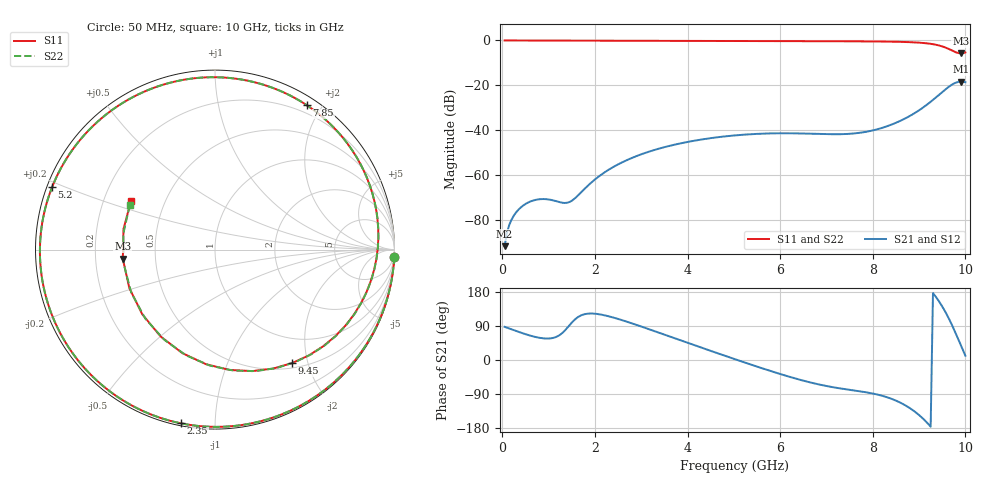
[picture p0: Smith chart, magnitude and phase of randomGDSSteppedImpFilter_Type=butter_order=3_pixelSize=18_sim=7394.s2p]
! freq	dB(S11)	phase(S11)	dB(S12)	phase(S12)
!  dB(S21)	phase(S21)	dB(S22)	phase(S22)
!S-par simulation data
#  GHz  S  DB  R 50
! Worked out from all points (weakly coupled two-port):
!   200 points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, 50 MHz to 10 GHz, reference 50 ohm
!   highest |S21| = -18.32 dB at 9.9 GHz (marker M1); lowest = -91.6 dB at 50 MHz (marker M2)
!   lowest |S11| = -5.7 dB at 9.9 GHz (marker M3), VSWR 3.13, Z = 16 - j2.22 ohm
!   |S11| at or under -10 dB: nowhere
!   |S22| runs from -5.8 to 0.0 dB; largest |S21 - S12| = 0
!   S11 on the Smith chart (normalised r, x): 50 MHz: 0, -49; 2.35 GHz: 0.01, -0.82; 5.2 GHz: 0.01, +0.18; 7.85 GHz: 0.10, +1.82; 9.45 GHz: 0.57, -1.74; 10 GHz: 0.32, +0.24
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0.05  -0.00 -2.3  -91.61 87.5  -91.61 87.5  -0.00 -2.3
0.2  -0.01 -9.3  -79.80 81.0  -79.80 81.0  -0.01 -9.3
0.35  -0.02 -16.1  -75.34 74.4  -75.34 74.4  -0.02 -16.1
0.6  -0.04 -27.5  -71.78 64.5  -71.78 64.5  -0.04 -27.5
1.4  -0.08 -62.7  -72.28 84.4  -72.28 84.4  -0.08 -62.7
1.75  -0.09 -77.3  -66.64 119.9  -66.64 119.9  -0.09 -77.3
2.35  -0.12 -101.0  -56.91 113.6  -56.91 113.6  -0.12 -101.0
3.4  -0.16 -139.4  -48.08 71.3  -48.08 71.3  -0.16 -139.4
4.25  -0.20 -168.6  -44.28 34.8  -44.28 34.8  -0.20 -168.7
5.05  -0.24 164.2  -42.23 1.0  -42.23 1.0  -0.24 164.2
5.2  -0.25 159.1  -41.98 -5.2  -41.98 -5.2  -0.25 159.0
5.9  -0.28 134.6  -41.35 -33.1  -41.35 -33.1  -0.29 134.5
6.7  -0.33 105.1  -41.56 -60.6  -41.56 -60.6  -0.33 105.0
7.3  -0.36 81.3  -41.74 -75.1  -41.74 -75.1  -0.36 81.2
7.85  -0.42 57.6  -40.71 -85.1  -40.71 -85.1  -0.41 57.4
8.35  -0.52 33.3  -37.90 -100.0  -37.90 -100.0  -0.52 33.3
9  -0.98 -7.3  -31.10 -145.3  -31.10 -145.3  -0.96 -7.0
9.25  -1.50 -30.2  -27.32 -176.0  -27.32 -176.0  -1.47 -29.5
9.45  -2.33 -55.8  -23.88 151.0  -23.88 151.0  -2.28 -54.7
9.7  -4.37 -107.5  -19.82 95.0  -19.82 95.0  -4.27 -105.1
9.9  -5.75 -174.3  -18.32 39.2  -18.32 39.2  -5.77 -171.1
10  -5.34 149.9  -18.61 11.3  -18.61 11.3  -5.43 152.6
